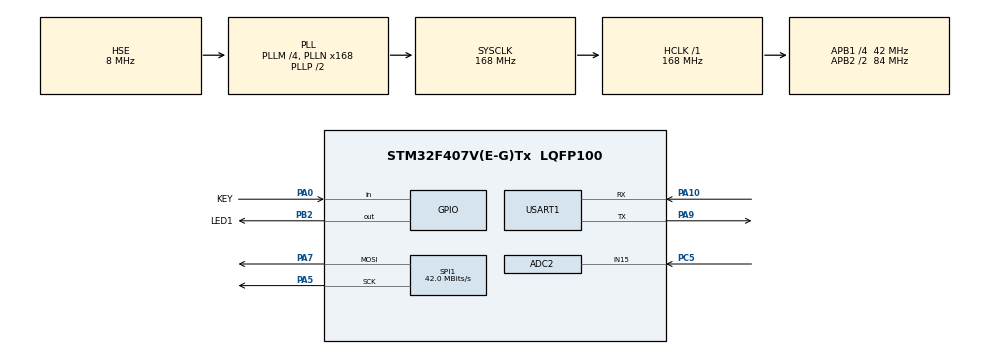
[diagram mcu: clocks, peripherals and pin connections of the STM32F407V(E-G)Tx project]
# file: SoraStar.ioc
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ADC1.Channel-0\#ChannelRegularConversion=ADC_CHANNEL_TEMPSENSOR
ADC1.Channel-1\#ChannelRegularConversion=ADC_CHANNEL_VREFINT
ADC1.ClockPrescaler=ADC_CLOCK_SYNC_PCLK_DIV6
ADC1.ContinuousConvMode=ENABLE
ADC1.DMAContinuousRequests=ENABLE
ADC1.NbrOfConversion=2
ADC1.NbrOfConversionFlag=1
ADC1.Rank-0\#ChannelRegularConversion=1
ADC1.Rank-1\#ChannelRegularConversion=2
ADC1.SamplingTime-0\#ChannelRegularConversion=ADC_SAMPLETIME_144CYCLES
ADC1.SamplingTime-1\#ChannelRegularConversion=ADC_SAMPLETIME_144CYCLES
ADC1.master=1
ADC2.Channel-2\#ChannelRegularConversion=ADC_CHANNEL_15
ADC2.ClockPrescaler=ADC_CLOCK_SYNC_PCLK_DIV6
ADC2.NbrOfConversionFlag=1
ADC2.Rank-2\#ChannelRegularConversion=1
ADC2.SamplingTime-2\#ChannelRegularConversion=ADC_SAMPLETIME_3CYCLES
Dma.ADC1.0.Direction=DMA_PERIPH_TO_MEMORY
Dma.ADC1.0.FIFOMode=DMA_FIFOMODE_DISABLE
Dma.ADC1.0.Instance=DMA2_Stream0
Dma.ADC1.0.MemDataAlignment=DMA_MDATAALIGN_WORD
Dma.ADC1.0.MemInc=DMA_MINC_ENABLE
Dma.ADC1.0.Mode=DMA_CIRCULAR
Dma.ADC1.0.PeriphDataAlignment=DMA_PDATAALIGN_WORD
Dma.ADC1.0.PeriphInc=DMA_PINC_DISABLE
Dma.ADC1.0.Priority=DMA_PRIORITY_LOW
Dma.Request0=ADC1
Dma.Request1=USART1_RX
Dma.USART1_RX.1.Direction=DMA_PERIPH_TO_MEMORY
Dma.USART1_RX.1.FIFOMode=DMA_FIFOMODE_DISABLE
Dma.USART1_RX.1.Instance=DMA2_Stream2
Dma.USART1_RX.1.MemDataAlignment=DMA_MDATAALIGN_BYTE
Dma.USART1_RX.1.MemInc=DMA_MINC_ENABLE
Dma.USART1_RX.1.Mode=DMA_NORMAL
Dma.USART1_RX.1.PeriphDataAlignment=DMA_PDATAALIGN_BYTE
Dma.USART1_RX.1.PeriphInc=DMA_PINC_DISABLE
Dma.USART1_RX.1.Priority=DMA_PRIORITY_LOW
Mcu.Family=STM32F4
Mcu.Name=STM32F407V(E-G)Tx
Mcu.Package=LQFP100
NVIC.ADC_IRQn=true\:0\:0\:false\:false\:true\:true\:true\:true
NVIC.DMA2_Stream0_IRQn=true\:0\:0\:false\:false\:true\:false\:true\:true
NVIC.DMA2_Stream2_IRQn=true\:0\:0\:false\:false\:true\:false\:true\:true
NVIC.PriorityGroup=NVIC_PRIORITYGROUP_4
NVIC.TIM8_BRK_TIM12_IRQn=true\:0\:0\:false\:false\:true\:true\:true\:true
NVIC.USART1_IRQn=true\:0\:0\:false\:false\:true\:true\:true\:true
PA0-WKUP.GPIO_Label=KEY
PA0-WKUP.GPIO_PuPd=GPIO_PULLDOWN
PA0-WKUP.Signal=GPIO_Input
PA10.Mode=Asynchronous
PA10.Signal=USART1_RX
PA13.Mode=Serial_Wire
PA13.Signal=SYS_JTMS-SWDIO
PA14.Mode=Serial_Wire
PA14.Signal=SYS_JTCK-SWCLK
PA5.Mode=TX_Only_Simplex_Unidirect_Master
PA5.Signal=SPI1_SCK
PA7.Mode=TX_Only_Simplex_Unidirect_Master
PA7.Signal=SPI1_MOSI
PA9.Mode=Asynchronous
PA9.Signal=USART1_TX
PB2.GPIO_Label=LED1
PB2.GPIO_PuPd=GPIO_PULLDOWN
PB2.Signal=GPIO_Output
PC5.Signal=ADCx_IN15
PH0-OSC_IN.Mode=HSE-External-Oscillator
PH0-OSC_IN.Signal=RCC_OSC_IN
PH1-OSC_OUT.Mode=HSE-External-Oscillator
PH1-OSC_OUT.Signal=RCC_OSC_OUT
ProjectManager.HeapSize=0x200
ProjectManager.StackSize=0x400
ProjectManager.TargetToolchain=MDK-ARM V5
RCC.48MHZClocksFreq_Value=84000000
RCC.AHBFreq_Value=168000000
RCC.APB1CLKDivider=RCC_HCLK_DIV4
RCC.APB1Freq_Value=42000000
RCC.APB1TimFreq_Value=84000000
RCC.APB2CLKDivider=RCC_HCLK_DIV2
RCC.APB2Freq_Value=84000000
RCC.APB2TimFreq_Value=168000000
RCC.CortexFreq_Value=168000000
RCC.HCLKFreq_Value=168000000
RCC.HSE_VALUE=8000000
RCC.HSI_VALUE=16000000
RCC.LSE_VALUE=32768
RCC.PLLM=4
RCC.PLLN=168
RCC.PLLSourceVirtual=RCC_PLLSOURCE_HSE
RCC.SYSCLKFreq_VALUE=168000000
RCC.SYSCLKSource=RCC_SYSCLKSOURCE_PLLCLK
RCC.VCOOutputFreq_Value=336000000
SH.ADCx_IN15.0=ADC2_IN15,IN15
SPI1.CalculateBaudRate=42.0 MBits/s
SPI1.Direction=SPI_DIRECTION_2LINES
SPI1.Mode=SPI_MODE_MASTER
SPI1.VirtualType=VM_MASTER
TIM12.Prescaler=83
USART1.VirtualMode=VM_ASYNC
VP_ADC1_TempSens_Input.Mode=IN-TempSens
VP_ADC1_Vref_Input.Mode=IN-Vrefint
VP_TIM12_VS_ClockSourceINT.Mode=Internal
board=custom

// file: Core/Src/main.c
/* USER CODE BEGIN Header */
/**
 ******************************************************************************
 * @file           : main.c
 * @brief          : Main program body
 ******************************************************************************
 * @attention
 *
 * Copyright (c) 2024 STMicroelectronics.
 * All rights reserved.
 *
 * This software is licensed under terms that can be found in the LICENSE file
 * in the root directory of this software component.
 * If no LICENSE file comes with this software, it is provided AS-IS.
 *
 ******************************************************************************
 */
/* USER CODE END Header */
#include "main.h"
#include "adc.h"
#include "dma.h"
#include "spi.h"
#include "tim.h"
#include "usart.h"
#include "gpio.h"

/* USER CODE BEGIN Includes */
#include "stdio.h"
#include "string.h"
#include "led.h"

/* USER CODE END Includes */

/* USER CODE BEGIN PD */
#define PERIOD 20
#define ADCSYS 2
#define ADCIN 1
#define REC_BUF_LEN 64
#define HEADER_H 0x73 // 's'
#define HEADER_L 0x63 // 'c'
#define ENDER_H 0x78  // 'x'
#define ENDER_L 0x79  // 'y'

/* USER CODE END PD */

/* USER CODE BEGIN PV */
uint16_t sysTSec = 0;
uint8_t sysVarFlag = 0;

extern DMA_HandleTypeDef hdma_usart1_rx;
UART_msg dmaRx = {0};

uint8_t rec_byte;
uint8_t rec_index = 0;
uint8_t rec_data[REC_BUF_LEN] = {0};

uint32_t ADC_originValue[ADCSYS] = {0};
uint32_t ADC2_originValue[ADCIN] = {0};

/* USER CODE END PV */

void SystemClock_Config(void);
/* USER CODE BEGIN PFP */
uint8_t KEY_Read(uint16_t Period);
void KEY_Process(void);
void UART_Process(void);

/* USER CODE END PFP */

/* USER CODE BEGIN 0 */

// 创建 LED 结构体
LED_Control LED = {
    .On = LED_On,
    .Off = LED_Off,
    .Toggle = LED_Toggle,
    .Loop = LED_Loop,
    .Status = LED_Status};

/* USER CODE END 0 */

int main(void)
{

  /* MCU Configuration--------------------------------------------------------*/

  /* Reset of all peripherals, Initializes the Flash interface and the Systick. */
  HAL_Init();

  /* Configure the system clock */
  SystemClock_Config();

  /* Initialize all configured peripherals */
  MX_GPIO_Init();
  MX_DMA_Init();
  MX_USART1_UART_Init();
  MX_ADC1_Init();
  MX_TIM12_Init();
  MX_ADC2_Init();
  MX_SPI1_Init();
  /* USER CODE BEGIN 2 */

  // 开启 UART DMA接收

  if (HAL_UARTEx_ReceiveToIdle_DMA(&huart1, (uint8_t *)&dmaRx.data, REC_BUF_LEN) != HAL_OK)
  {
    Error_Handler();
  }

  // 开启 ADC_DMA 内部Temperature与Vref传感器通道转换
  if (HAL_ADC_Start_DMA(&hadc1, (uint32_t *)&ADC_originValue, 2) != HAL_OK)
  {
    Error_Handler();
  }
  if (HAL_ADC_Start_DMA(&hadc2, (uint32_t *)&ADC2_originValue, 1) != HAL_OK)
  {
    Error_Handler();
  }

  /* USER CODE END 2 */

  /* Infinite loop */
  /* USER CODE BEGIN WHILE */
  while (1)
  {
    // if (sysTSec > 2)
    // {
    //   // uint8_t ErrorBuf;
    //   sysTSec = 0;
    //   // HAL_UART_Transmit(&huart1, (uint8_t *)&dmaRx.len, 1, 0xFF);
    //   // for (int i = 0; i < 6; i++)
    //   // {
    //   //   HAL_UART_Transmit(&huart1, (uint8_t *)&dmaRx.data[i], 1, 0xFF);
    //   // }
    //   // ErrorBuf = HAL_UART_GetError(&huart1);
    //   // HAL_UART_Transmit(&huart1, (uint8_t *)&ErrorBuf, 1, 0xFF);

    // }

    KEY_Process();
    UART_Process();

    /* USER CODE END WHILE */

  }
}

void SystemClock_Config(void)
{
  RCC_OscInitTypeDef RCC_OscInitStruct = {0};
  RCC_ClkInitTypeDef RCC_ClkInitStruct = {0};

  /** Configure the main internal regulator output voltage
   */
  __HAL_RCC_PWR_CLK_ENABLE();
  __HAL_PWR_VOLTAGESCALING_CONFIG(PWR_REGULATOR_VOLTAGE_SCALE1);

  /** Initializes the RCC Oscillators according to the specified parameters
   * in the RCC_OscInitTypeDef structure.
   */
  RCC_OscInitStruct.OscillatorType = RCC_OSCILLATORTYPE_HSE;
  RCC_OscInitStruct.HSEState = RCC_HSE_ON;
  RCC_OscInitStruct.PLL.PLLState = RCC_PLL_ON;
  RCC_OscInitStruct.PLL.PLLSource = RCC_PLLSOURCE_HSE;
  RCC_OscInitStruct.PLL.PLLM = 4;
  RCC_OscInitStruct.PLL.PLLN = 168;
  RCC_OscInitStruct.PLL.PLLP = RCC_PLLP_DIV2;
  RCC_OscInitStruct.PLL.PLLQ = 4;
  if (HAL_RCC_OscConfig(&RCC_OscInitStruct) != HAL_OK)
  {
    Error_Handler();
  }

  /** Initializes the CPU, AHB and APB buses clocks
   */
  RCC_ClkInitStruct.ClockType = RCC_CLOCKTYPE_HCLK | RCC_CLOCKTYPE_SYSCLK | RCC_CLOCKTYPE_PCLK1 | RCC_CLOCKTYPE_PCLK2;
  RCC_ClkInitStruct.SYSCLKSource = RCC_SYSCLKSOURCE_PLLCLK;
  RCC_ClkInitStruct.AHBCLKDivider = RCC_SYSCLK_DIV1;
  RCC_ClkInitStruct.APB1CLKDivider = RCC_HCLK_DIV4;
  RCC_ClkInitStruct.APB2CLKDivider = RCC_HCLK_DIV2;

  if (HAL_RCC_ClockConfig(&RCC_ClkInitStruct, FLASH_LATENCY_5) != HAL_OK)
  {
    Error_Handler();
  }
}

/* USER CODE BEGIN 4 */
uint8_t KEY_Read(uint16_t Period)
{
  static uint8_t Press_Flag = 0;
  static uint16_t Press_Delay = 0;

  if ((HAL_GPIO_ReadPin(KEY_GPIO_Port, KEY_Pin) == 1) && Press_Flag == 0)
  {
    Press_Delay += Period;
    if (Press_Delay <= Period)
      return 0;

    if (HAL_GPIO_ReadPin(KEY_GPIO_Port, KEY_Pin) == 1)
    {
      Press_Flag = 1;
      if (HAL_GPIO_ReadPin(KEY_GPIO_Port, KEY_Pin) == 1)
        return 1;
    }
  }

  if (HAL_GPIO_ReadPin(KEY_GPIO_Port, KEY_Pin) == 0)
  {
    Press_Flag = 0;
    Press_Delay = 0;
  }

  return 0;
}

void KEY_Process(void)
{
  static uint8_t Key_Val;

  Key_Val = KEY_Read(PERIOD);
  if (Key_Val == 1)
  {
    HAL_UART_Transmit(&huart1, (uint8_t *)"K1Press\r\n", 10, 250);
    // LED.Toggle(GPIOB, LED1_Pin);
  }
}

void UART_Process(void)
{
  if (dmaRx.len >= 4 && (dmaRx.data[dmaRx.len - 2] == ENDER_H && dmaRx.data[dmaRx.len - 1] == ENDER_L))
  {
    if ((dmaRx.data[0] == HEADER_H && dmaRx.data[1] == HEADER_L)) // 开头正确
    {
      uint8_t LED_State;
      char temBuf[16];
      float tempValue;

      switch (dmaRx.data[2])
      {
      case 'N':
        LED.On(GPIOB, LED1_Pin);
        break;
      case 'F':
        LED.Off(GPIOB, LED1_Pin);
        break;
      case 'T':
        LED.Toggle(GPIOB, LED1_Pin);
        break;
      }

      LED_State = LED.Status(GPIOB, LED1_Pin);

      switch (dmaRx.data[3])
      {
      case 'L':
        if (LED_State == 1)
        {
          HAL_UART_Transmit(&huart1, (uint8_t *)"LED1 Status:On\r\n", 18, 0xFF);
        }
        else if (LED_State == 0)
        {
          HAL_UART_Transmit(&huart1, (uint8_t *)"LED1 Status:Off\r\n", 18, 0xFF);
        }
        break;
      case 'T':
        tempValue = ((ADC_originValue[0] / 4095.0) * 3300 - 760) / 2.5 + 25; // 根据ADC值计算温度
        sprintf(temBuf, "Temp:%.1f\r\n", tempValue);
        HAL_UART_Transmit(&huart1, (uint8_t *)temBuf, 12, 0xFF);
        break;
      case 'V':
        tempValue = ((ADC_originValue[1] / 4095.0) * 3.3); // 根据 ADC 值计算VrefIn片内参照电压
        sprintf(temBuf, "VREFINT:%.2fV\r\n", tempValue);
        HAL_UART_Transmit(&huart1, (uint8_t *)temBuf, 16, 0xFF);
        break;
      case 'A':
        tempValue = ((ADC2_originValue[0] / 4095.0) * 3.3); // 根据 ADC 值计算GPIO获取电压
        sprintf(temBuf, "ADCIN:%.2fV\r\n", tempValue);
        // tempValue = ((ADC2_originValue[0] / 4095.0) * 3.3);
        // sprintf(temBuf, "PC05=%.2f\r\n", tempValue);
        HAL_UART_Transmit(&huart1, (uint8_t *)temBuf, 14, 0xFF);
      }

      if (dmaRx.data[2] == '?' || dmaRx.data[3] == '?')
      {
        HAL_UART_Transmit(&huart1, (uint8_t *)"Help:sc??xy\r\n", 12, 0xFF);
        HAL_UART_Transmit(&huart1, (uint8_t *)"'s''c'..'x''y'", 15, 0xFF);
        HAL_UART_Transmit(&huart1, (uint8_t *)"\r\n.1:LED:N/O/T", 16, 0xFF);
        HAL_UART_Transmit(&huart1, (uint8_t *)"\r\n.2:L/T/V", 11, 0xFF);
      }

      // 本次数据结束，重新接收
      dmaRx.len = 0;
    }
    else // 开头错误，重新接收
    {
      dmaRx.len = 0;
    }
  }
}

void HAL_UARTEx_RxEventCallback(UART_HandleTypeDef *huart, uint16_t Size)
{
  if (huart->Instance == USART1)
  {
    // HAL_UART_Transmit(&huart1, (uint8_t *)dmaRx.data, Size, 0xFF);
    dmaRx.len = Size;
  }
}

void HAL_UART_ErrorCallback(UART_HandleTypeDef *huart)
{
  if (HAL_UART_GetError(huart) & HAL_UART_ERROR_PE)
  { /* Parity error */
    // 奇偶校验错误
    __HAL_UART_CLEAR_PEFLAG(huart);
  }
  else if (HAL_UART_GetError(huart) & HAL_UART_ERROR_NE)
  { /* Noise error */
    // 噪声错误
    __HAL_UART_CLEAR_NEFLAG(huart);
  }
  else if (HAL_UART_GetError(huart) & HAL_UART_ERROR_FE)
  { /* Frame error */
    // 帧格式错误
    __HAL_UART_CLEAR_FEFLAG(huart);
  }
  else if (HAL_UART_GetError(huart) & HAL_UART_ERROR_ORE)
  { /* Overrun error */
    // 数据太多串口来不及接收错误
    __HAL_UART_CLEAR_OREFLAG(huart);
  }
  // 当这个串口发生了错误需要要重新使能接收中断
  if (huart->Instance == USART1)
  {
    HAL_UARTEx_ReceiveToIdle_DMA(&huart1, (uint8_t *)&dmaRx.data, REC_BUF_LEN);
  }
}

/* USER CODE END 4 */

void Error_Handler(void)
{
  __disable_irq();
  while (1)
  {
  }
}
